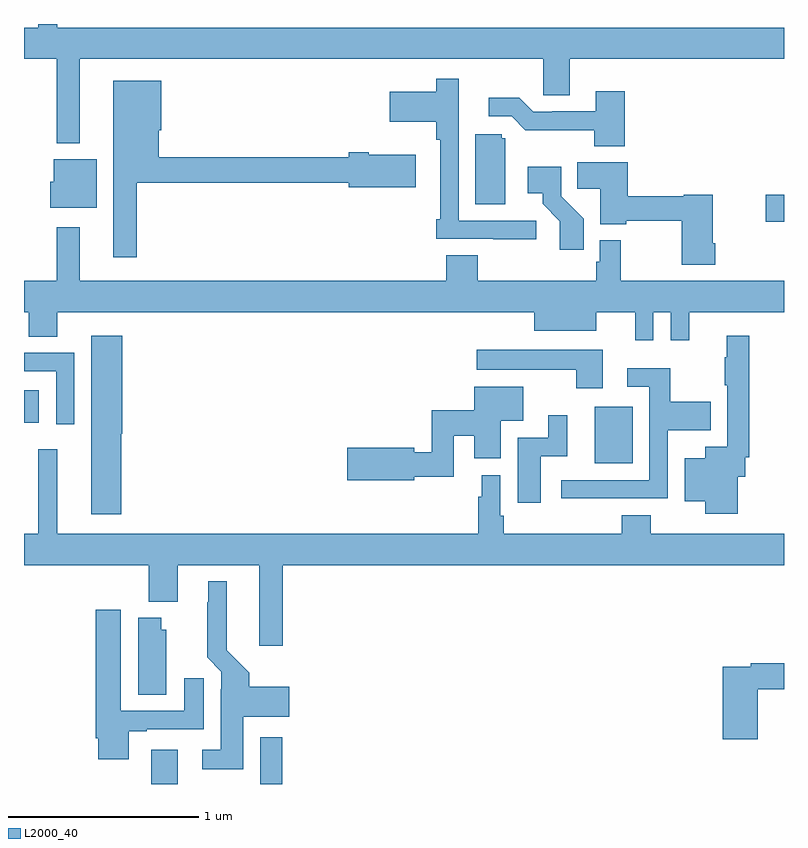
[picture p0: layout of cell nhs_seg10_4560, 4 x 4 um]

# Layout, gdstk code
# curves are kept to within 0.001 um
import gdstk
lib = gdstk.Library(unit=1e-6, precision=1e-09)
def R(c, l, rs):  # rectangles x0, y0, x1, y1
    for r in rs: c.add(gdstk.rectangle(r[:2], r[2:], *l))
def P(c, l, *ps):  # polygons
    for p in ps: c.add(gdstk.Polygon(p, *l))
L2000_40 = (2000, 40)

nhs_seg10_4560 = lib.new_cell('nhs_seg10_4560')
R(nhs_seg10_4560, L2000_40, [(371.669,1296.5,371.809,1296.679), (372.243,1296.5,372.359,1296.745), (374.003,1298.189,374.203,1298.485), (371,1298.402,371.077,1298.572), (374.904,1299.46,375,1299.602)])
P(nhs_seg10_4560, L2000_40, [(371.293,1300.316),(373.734,1300.316),(373.734,1300.126),(373.873,1300.126),(373.873,1300.316),(375,1300.316),(375,1300.48),(371.174,1300.48),(371.174,1300.5),(371.075,1300.5),(371.075,1300.48),(371,1300.48),(371,1300.316),(371.172,1300.316),(371.172,1299.872),(371.293,1299.872)],
  [(373.696,1299.465),(373.287,1299.465),(373.287,1299.99),(373.288,1299.99),(373.288,1300.213),(373.171,1300.213),(373.171,1300.144),(372.924,1300.144),(372.924,1299.986),(373.171,1299.986),(373.171,1299.89),(373.191,1299.89),(373.191,1299.472),(373.171,1299.472),(373.171,1299.369),(373.471,1299.369),(373.471,1299.367),(373.696,1299.367)],
  [(371.593,1299.664),(372.71,1299.664),(372.71,1299.641),(373.063,1299.641),(373.063,1299.811),(372.814,1299.811),(372.814,1299.824),(372.71,1299.824),(372.71,1299.8),(371.71,1299.8),(371.71,1299.942),(371.722,1299.942),(371.722,1300.201),(371.471,1300.201),(371.471,1299.273),(371.593,1299.273)],
  [(374.162,1300.147),(374.009,1300.147),(374.009,1300.041),(373.78,1300.041),(373.78,1300.038),(373.68,1300.038),(373.607,1300.111),(373.446,1300.111),(373.446,1300.014),(373.566,1300.014),(373.639,1299.941),(374.002,1299.942),(374.002,1299.857),(374.162,1299.857)],
  [(373.534,1299.9),(373.515,1299.9),(373.515,1299.921),(373.376,1299.921),(373.376,1299.552),(373.534,1299.552)],
  [(371.383,1299.787),(371.156,1299.787),(371.156,1299.669),(371.138,1299.669),(371.138,1299.533),(371.383,1299.533)],
  [(374.639,1299.346),(374.626,1299.346),(374.626,1299.601),(374.472,1299.601),(374.472,1299.593),(374.178,1299.593),(374.178,1299.772),(373.912,1299.772),(373.912,1299.634),(374.033,1299.634),(374.033,1299.446),(374.17,1299.446),(374.17,1299.465),(374.461,1299.465),(374.461,1299.234),(374.639,1299.234)],
  [(373.946,1299.474),(373.827,1299.593),(373.827,1299.748),(373.65,1299.748),(373.65,1299.608),(373.73,1299.608),(373.73,1299.553),(373.821,1299.463),(373.821,1299.312),(373.946,1299.312)],
  [(374.313,1298.984),(374.403,1298.984),(374.403,1298.835),(374.501,1298.835),(374.501,1298.984),(375,1298.984),(375,1299.148),(374.14,1299.148),(374.14,1299.361),(374.031,1299.361),(374.031,1299.249),(374.011,1299.249),(374.011,1299.148),(373.388,1299.148),(373.388,1299.284),(373.223,1299.284),(373.223,1299.148),(371.293,1299.148),(371.293,1299.43),(371.172,1299.43),(371.172,1299.148),(371,1299.148),(371,1298.984),(371.024,1298.984),(371.024,1298.854),(371.176,1298.854),(371.176,1298.984),(373.685,1298.984),(373.685,1298.885),(374.011,1298.885),(374.011,1298.984),(374.216,1298.984),(374.216,1298.835),(374.313,1298.835)],
  [(371.513,1298.343),(371.518,1298.343),(371.518,1298.86),(371.354,1298.86),(371.354,1297.92),(371.513,1297.92)],
  [(374.756,1298.117),(374.796,1298.117),(374.796,1298.221),(374.816,1298.221),(374.816,1298.86),(374.699,1298.86),(374.699,1298.747),(374.688,1298.747),(374.688,1298.599),(374.7,1298.599),(374.7,1298.275),(374.585,1298.275),(374.585,1298.215),(374.477,1298.215),(374.477,1297.988),(374.585,1297.988),(374.585,1297.923),(374.756,1297.923)],
  [(374.047,1298.785),(373.383,1298.785),(373.383,1298.681),(373.907,1298.681),(373.907,1298.583),(374.047,1298.583)],
  [(371.265,1298.769),(371,1298.769),(371,1298.673),(371.169,1298.673),(371.169,1298.394),(371.265,1298.394)],
  [(374.063,1298.004),(374.388,1298.004),(374.388,1298.363),(374.615,1298.363),(374.615,1298.511),(374.401,1298.511),(374.401,1298.689),(374.175,1298.689),(374.175,1298.592),(374.292,1298.592),(374.292,1298.1),(373.827,1298.1),(373.827,1298.003),(374.063,1298.003)],
  [(373.054,1298.118),(373.263,1298.118),(373.263,1298.332),(373.37,1298.332),(373.37,1298.214),(373.51,1298.214),(373.51,1298.411),(373.627,1298.411),(373.627,1298.59),(373.37,1298.59),(373.37,1298.468),(373.147,1298.468),(373.147,1298.246),(373.054,1298.246),(373.054,1298.27),(372.702,1298.27),(372.702,1298.099),(373.054,1298.099)],
  [(373.72,1298.226),(373.858,1298.226),(373.858,1298.44),(373.76,1298.44),(373.76,1298.322),(373.598,1298.322),(373.598,1297.98),(373.72,1297.98)],
  [(372.362,1297.652),(375,1297.652),(375,1297.816),(374.299,1297.816),(374.299,1297.915),(374.147,1297.915),(374.147,1297.816),(373.526,1297.816),(373.526,1297.912),(373.506,1297.912),(373.506,1298.125),(373.409,1298.125),(373.409,1298.012),(373.39,1298.012),(373.39,1297.816),(371.174,1297.816),(371.174,1298.263),(371.075,1298.263),(371.075,1297.816),(371,1297.816),(371,1297.652),(371.657,1297.652),(371.657,1297.46),(371.809,1297.46),(371.809,1297.652),(372.239,1297.652),(372.239,1297.227),(372.362,1297.227)],
  [(372.154,1296.854),(372.397,1296.854),(372.397,1297.012),(372.185,1297.012),(372.185,1297.086),(372.067,1297.204),(372.067,1297.567),(371.969,1297.567),(371.969,1297.457),(371.965,1297.457),(371.965,1297.166),(372.039,1297.092),(372.039,1296.998),(372.035,1296.998),(372.035,1296.679),(371.937,1296.679),(371.937,1296.578),(372.154,1296.578)],
  [(371.551,1296.777),(371.647,1296.777),(371.647,1296.789),(371.947,1296.789),(371.947,1297.057),(371.843,1297.057),(371.843,1296.885),(371.509,1296.885),(371.509,1297.417),(371.378,1297.417),(371.378,1296.742),(371.39,1296.742),(371.39,1296.63),(371.551,1296.63)],
  [(371.749,1297.311),(371.722,1297.311),(371.722,1297.375),(371.6,1297.375),(371.6,1296.97),(371.749,1296.97)],
  [(374.861,1297),(375,1297),(375,1297.136),(374.824,1297.136),(374.824,1297.116),(374.678,1297.116),(374.678,1296.735),(374.861,1296.735)])

lib.write_gds('nhs_seg10_4560.gds')
